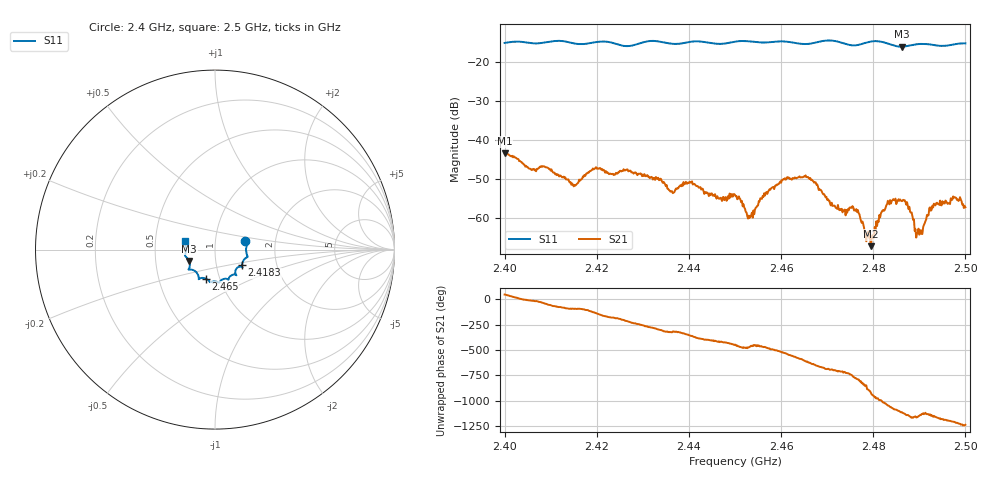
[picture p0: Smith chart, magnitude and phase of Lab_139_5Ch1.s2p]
# Hz S RI R 50
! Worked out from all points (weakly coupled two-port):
!   601 points, 2.4 GHz to 2.5 GHz, reference 50 ohm
!   highest |S21| = -43.49 dB at 2.4 GHz (marker M1); lowest = -67.3 dB at 2.4795 GHz (marker M2)
!   lowest |S11| = -16.1 dB at 2.4862 GHz (marker M3), VSWR 1.37, Z = 37.2 - j4.82 ohm
!   |S11| at or under -10 dB: start of sweep to end of sweep
!   S12 and S22 are empty: the file has one direction only
!   S11 on the Smith chart (normalised r, x): 2.4 GHz: 1.40, +0.14; 2.4183 GHz: 1.33, -0.24; 2.465 GHz: 0.86, -0.28; 2.5 GHz: 0.71, +0.07
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2.4e9  0.1689 0.0469  0.00462 0.00485  0 0  0 0
2.415e9  0.1652 -0.052  -0.000229 -0.00252  0 0  0 0
2.416667e9  0.1548 -0.0683  -0.000355 -0.00308  0 0  0 0
2.418333e9  0.1502 -0.0869  -0.00163 -0.00345  0 0  0 0
2.433333e9  0.1176 -0.1408  0.00153 0.00287  0 0  0 0
2.436333e9  0.0971 -0.141  0.00182 0.00121  0 0  0 0
2.440167e9  0.0758 -0.164  0.00288 0.000166  0 0  0 0
2.446667e9  0.0475 -0.1639  0.000799 -0.00156  0 0  0 0
2.45e9  0.0262 -0.1803  9.1e-05 -0.00196  0 0  0 0
2.453333e9  0.0175 -0.1824  -0.000258 -0.00102  0 0  0 0
2.457833e9  -0.0159 -0.179  -0.00163 -0.00174  0 0  0 0
2.465e9  -0.0525 -0.1615  -0.00153 0.00303  0 0  0 0
2.466667e9  -0.0714 -0.1576  0.000444 0.00304  0 0  0 0
2.471667e9  -0.0902 -0.1625  0.00132 0.00051  0 0  0 0
2.4765e9  -0.1158 -0.1167  0.000471 -0.00109  0 0  0 0
2.4795e9  -0.1451 -0.1113  -0.000391 0.000181  0 0  0 0
2.483333e9  -0.1413 -0.0965  0.00134 0.000792  0 0  0 0
2.486167e9  -0.1436 -0.0632  0.00137 -0.000888  0 0  0 0
2.489833e9  -0.1653 -0.0379  0.000214 -0.000691  0 0  0 0
2.493333e9  -0.1632 -0.0171  0.000293 -0.00145  0 0  0 0
2.497833e9  -0.1657 0.0342  -0.00132 -0.00125  0 0  0 0
2.5e9  -0.1666 0.0469  -0.00126 -0.000506  0 0  0 0
